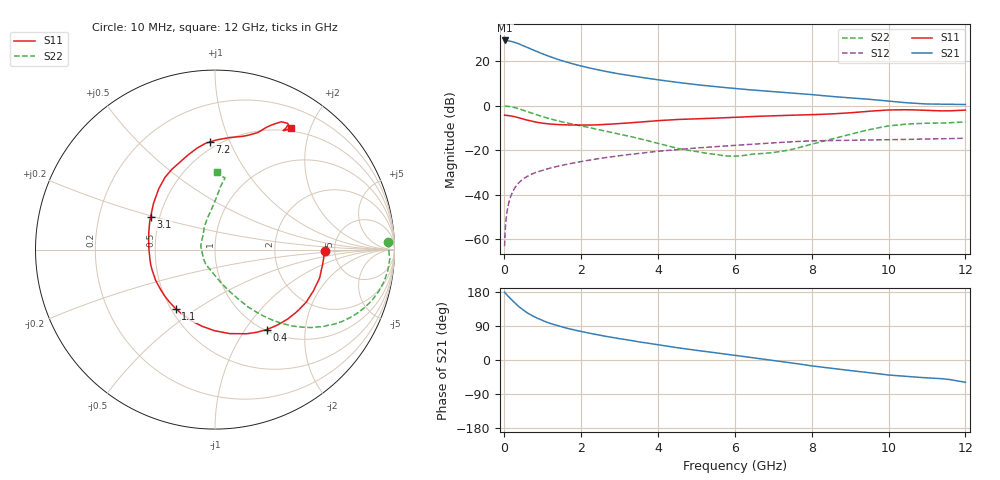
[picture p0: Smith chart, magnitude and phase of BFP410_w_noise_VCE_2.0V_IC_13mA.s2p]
! Infineon Technologies  Discrete & RF Semiconductors
! BFP410
! VCE =  2.0 V,  IC =  13 mA
! Common Emitter S-Parameters:  Nov 2015
# GHz  S  MA  R  50
!  f  S11  S21  S12  S22
! GHz  MAG  ANG  MAG  ANG  MAG  ANG  MAG  ANG
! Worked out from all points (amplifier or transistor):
!   243 points, 10 MHz to 12 GHz, reference 50 ohm
!   highest |S21| = 29.3 dB at 20 MHz (marker M1)
!   |S21| within 3 dB of that: start of sweep to 581.1 MHz
!   unconditionally stable (mu >= 1): 2.165 GHz to end of sweep
!   at 240 MHz: K = 0.20, MSG = 33.3 dB, |S12| = -38.0 dB
!   at 1.84 GHz: K = 0.92, MSG = 22.1 dB, |S12| = -25.6 dB
!   at 12 GHz: K = 1.03, MAG = 6.5 dB, |S12| = -14.6 dB
!   lowest NFmin = 1.42 dB at 900 MHz
!   S11 on the Smith chart (normalised r, x): 10 MHz: 4.19, -0.12; 400 MHz: 1.02, -1.27; 1.1 GHz: 0.53, -0.41; 3.1 GHz: 0.45, +0.19; 7.2 GHz: 0.45, +0.85; 12 GHz: 0.46, +1.71
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0.01  0.615 -0.8  29.1 179.3  0.0007 99.2  0.965 2.5
0.02  0.6095 -2.4  29.21 177.3  0.0013 99.0  0.9687 -0.6
0.1  0.6038 -15.3  28.7 168.7  0.0056 84.2  0.9695 -7.2
0.2  0.5866 -29.9  27.57 158.1  0.0107 77.8  0.9395 -14.6
0.3  0.5597 -43.9  25.95 148.2  0.0154 72.7  0.8944 -21.1
0.4  0.5311 -57.0  24.1 139.3  0.0194 68.1  0.8417 -26.8
0.5  0.5015 -69.2  22.21 131.5  0.023 64.7  0.7875 -31.7
0.6  0.4751 -80.1  20.35 124.4  0.0259 61.9  0.7351 -35.7
0.7  0.4519 -90.4  18.69 118.5  0.0287 59.7  0.6869 -39.2
0.9  0.4181 -108.3  15.81 108.3  0.0335 56.6  0.6037 -44.8
1.1  0.3957 -123.6  13.5 100.1  0.0377 54.7  0.535 -49.0
1.3  0.3822 -136.5  11.7 93.1  0.0418 53.2  0.4799 -52.5
1.46  0.3745 -145.4  10.53 88.5  0.0449 52.4  0.4434 -54.8
2.02  0.3666 -171.2  7.725 74.9  0.0561 49.6  0.3496 -61.2
2.6  0.3792 167.3  5.985 63.2  0.0675 46.0  0.2723 -67.8
3.1  0.4025 153.1  5.006 54.8  0.0772 42.7  0.2197 -74.3
4.1  0.4664 131.1  3.718 38.6  0.0965 35.3  0.1357 -93.1
6.1  0.553 104.6  2.395 11.0  0.1302 19.2  0.0744 -176.3
7.2  0.6003 92.7  2.012 -3.9  0.1498 9.6  0.094 139.1
8.2  0.6373 79.8  1.711 -18.0  0.1632 -1.4  0.1516 110.8
10.2  0.8065 61.4  1.223 -41.2  0.1734 -17.3  0.3663 84.1
12  0.7972 58.0  1.064 -58.8  0.1863 -32.3  0.4334 88.5
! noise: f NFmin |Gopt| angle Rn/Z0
0.45  1.45  0.03  -118  0.16
0.9  1.42  0.02  -123  0.16
1.8  1.53  0.08  -148  0.16
2.4  1.53  0.14  -128  0.21
5.5  2.4  0.38  -109  0.32
10  3.52  0.68  -48  2.04
